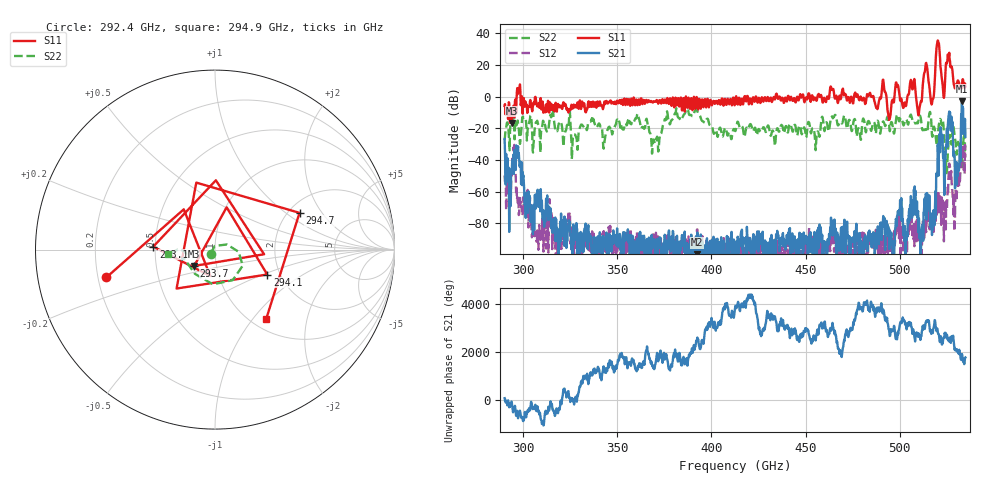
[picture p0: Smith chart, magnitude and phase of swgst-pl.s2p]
!Created with skrf (http://scikit-rf.org).
# GHz S RI R 50.0
!freq ReS11 ImS11 ReS21 ImS21 ReS12 ImS12 ReS22 ImS22
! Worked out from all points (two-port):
!   1201 points, 290 GHz to 535 GHz, reference 50 ohm
!   highest |S21| = -2.67 dB at 533.2 GHz (marker M1); lowest = -121.1 dB at 392.1 GHz (marker M2)
!   |S21| within 3 dB of the highest: 533.0941 GHz to 533.2587 GHz (164.6 MHz wide, 0.0309 % of centre)
!   lowest |S11| = -16.6 dB at 293.7 GHz (marker M3), VSWR 1.35, Z = 39 - j7.25 ohm
!   |S11| at or under -10 dB: 293.3864 GHz to 294.0688 GHz (682.4 MHz wide, 0.232 % of centre); 493.803 GHz to 495.2881 GHz (1.485 GHz wide, 0.3 % of centre); 509.7817 GHz to 510.3259 GHz (544.2 MHz wide, 0.107 % of centre) (the widest 3 of 14)
!   |S22| runs from -48.3 to -7.3 dB; largest |S21 - S12| = 0.75
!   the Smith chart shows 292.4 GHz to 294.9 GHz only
!   S11 on the Smith chart (normalised r, x): 292.4 GHz: 0.23, -0.12; 293.1 GHz: 0.49, +0.02; 293.7 GHz: 0.78, -0.15; 294.1 GHz: 1.72, -0.53; 294.7 GHz: 2.29, +1.27; 294.9 GHz: 1.16, -1.17
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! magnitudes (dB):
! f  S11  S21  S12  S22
! 290 GHz  -5.8  -26.9  -49.8  -27.4
! 292.4 GHz  -4.1  -85.5  -66.7  -29.8
! 293.1 GHz  -9.3  -55.2  -63.9  -17.6
! 293.7 GHz  -16.6  -48.1  -50.9  -14.3
! 294.1 GHz  -9.8  -40.3  -39.3  -14.9
! 294.7 GHz  -5.8  -36.7  -32.3  -14.2
! 294.9 GHz  -6.4  -48.9  -32.9  -11.6
! 305.3 GHz  -4.0  -72.8  -85.0  -30.2
! 331 GHz  -3.3  -86.3  -114.4  -17.6
! 371.7 GHz  -4.5  -95.2  -88.4  -34.7
! 392.1 GHz  -0.2  -121.1  -86.6  -8.5
! 412.5 GHz  -4.6  -95.7  -93.3  -21.7
! 453.5 GHz  0.8  -90.3  -89.2  -20.2
! 494.2 GHz  -12.9  -88.5  -89.1  -14.8
! 510.5 GHz  -8.0  -84.3  -85.4  -12.3
! 514 GHz  21.1  -61.3  -83.3  -20.7
! 517.4 GHz  -2.6  -73.6  -78.5  -25.4
! 521.5 GHz  24.1  -35.2  -71.9  -14.1
! 527 GHz  18.6  -18.1  -45.7  -24.7
! 530.5 GHz  8.3  -55.4  -59.6  -34.4
! 533.2 GHz  5.2  -2.7  -38.5  -40.3
! 535 GHz  6.3  -25.5  -38.5  -31.3
